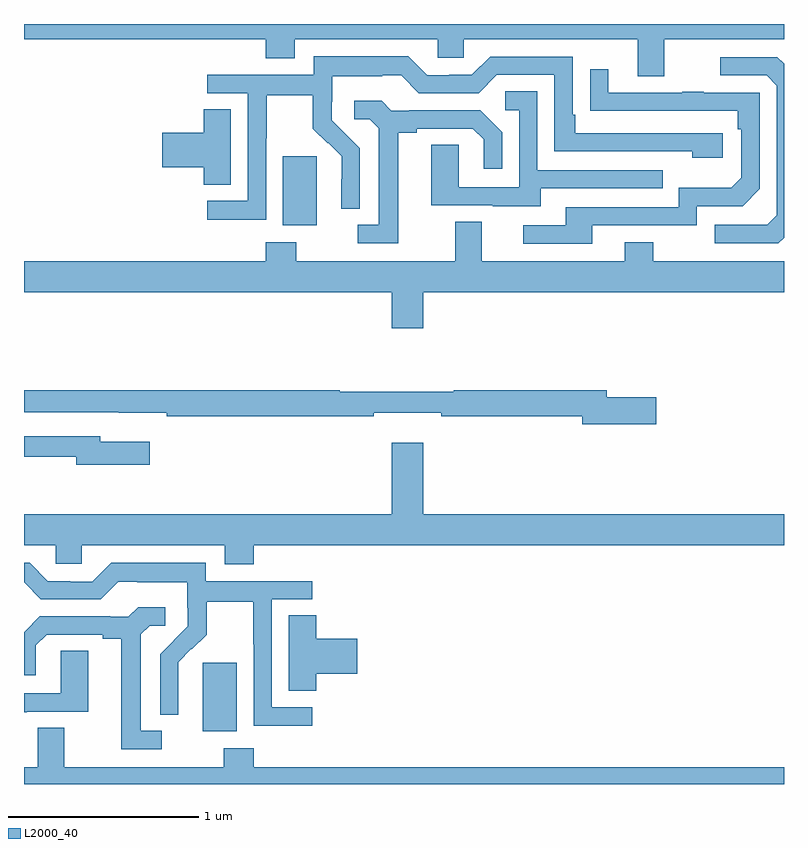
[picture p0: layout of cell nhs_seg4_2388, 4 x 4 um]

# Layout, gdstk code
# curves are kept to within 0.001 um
import gdstk
lib = gdstk.Library(unit=1e-6, precision=1e-09)
def R(c, l, rs):  # rectangles x0, y0, x1, y1
    for r in rs: c.add(gdstk.rectangle(r[:2], r[2:], *l))
def P(c, l, *ps):  # polygons
    for p in ps: c.add(gdstk.Polygon(p, *l))
L2000_40 = (2000, 40)

nhs_seg4_2388 = lib.new_cell('nhs_seg4_2388')
R(nhs_seg4_2388, L2000_40, [(235.94,793.178,236.119,793.539), (236.363,795.842,236.542,796.203)])
P(nhs_seg4_2388, L2000_40, [(238.369,796.82),(239,796.82),(239,796.9),(235,796.9),(235,796.82),(236.273,796.82),(236.273,796.721),(236.425,796.721),(236.425,796.82),(237.177,796.82),(237.177,796.722),(237.315,796.722),(237.315,796.82),(238.229,796.82),(238.229,796.626),(238.369,796.626)],
  [(236.274,796.3),(236.277,796.3),(236.277,796.524),(236.521,796.524),(236.521,796.349),(236.598,796.272),(236.601,796.275),(236.672,796.205),(236.672,796.082),(236.67,796.082),(236.67,795.928),(236.766,795.928),(236.766,796.246),(236.62,796.394),(236.62,796.491),(236.622,796.491),(236.622,796.625),(236.885,796.625),(236.885,796.629),(236.985,796.629),(237.078,796.536),(237.393,796.536),(237.489,796.632),(237.792,796.632),(237.792,796.23),(238.517,796.23),(238.517,796.196),(238.678,796.196),(238.678,796.326),(237.901,796.326),(237.901,796.423),(237.888,796.423),(237.888,796.728),(237.453,796.728),(237.357,796.632),(237.239,796.632),(237.239,796.629),(237.123,796.629),(237.023,796.729),(236.526,796.729),(236.526,796.632),(235.965,796.632),(235.965,796.536),(236.178,796.536),(236.178,795.969),(235.965,795.969),(235.965,795.871),(236.274,795.871)],
  [(239,795.776),(239,796.69),(238.965,796.725),(238.665,796.725),(238.665,796.629),(238.908,796.629),(238.962,796.575),(238.962,795.894),(238.911,795.843),(238.635,795.843),(238.635,795.747),(238.971,795.747)],
  [(237.991,795.84),(238.542,795.84),(238.542,795.942),(238.782,795.942),(238.872,796.032),(238.872,796.539),(238.577,796.539),(238.577,796.544),(238.465,796.544),(238.465,796.539),(238.075,796.539),(238.075,796.663),(237.979,796.663),(237.979,796.444),(238.756,796.443),(238.756,796.346),(238.776,796.346),(238.776,796.092),(238.723,796.039),(238.446,796.039),(238.446,795.936),(237.851,795.936),(237.851,795.84),(237.627,795.84),(237.627,795.744),(237.991,795.744)],
  [(237.721,796.035),(238.361,796.035),(238.361,796.131),(237.702,796.131),(237.702,796.547),(237.534,796.547),(237.534,796.446),(237.606,796.446),(237.606,796.041),(237.288,796.041),(237.288,796.265),(237.143,796.265),(237.143,795.945),(237.467,795.945),(237.467,795.941),(237.721,795.941)],
  [(236.971,796.328),(237.067,796.328),(237.067,796.35),(237.362,796.35),(237.419,796.293),(237.419,796.137),(237.516,796.137),(237.516,796.33),(237.4,796.446),(237.028,796.446),(237.028,796.443),(236.934,796.443),(236.882,796.495),(236.739,796.495),(236.739,796.398),(236.82,796.398),(236.867,796.351),(236.867,795.843),(236.757,795.843),(236.757,795.747),(236.971,795.747)],
  [(236.089,796.451),(235.946,796.451),(235.946,796.328),(235.728,796.328),(235.728,796.145),(235.946,796.145),(235.946,796.054),(236.089,796.054)],
  [(237.1,795.488),(239,795.488),(239,795.652),(238.311,795.652),(238.311,795.751),(238.163,795.751),(238.163,795.652),(237.409,795.652),(237.409,795.86),(237.269,795.86),(237.269,795.652),(236.433,795.652),(236.433,795.751),(236.273,795.751),(236.273,795.652),(235,795.652),(235,795.488),(236.936,795.488),(236.936,795.3),(237.1,795.3)],
  [(238.327,794.936),(238.066,794.936),(238.066,794.972),(237.262,794.972),(237.262,794.965),(236.662,794.965),(236.662,794.972),(235,794.972),(235,794.856),(235.498,794.856),(235.498,794.855),(235.75,794.855),(235.75,794.836),(236.84,794.836),(236.84,794.855),(237.196,794.855),(237.196,794.836),(237.938,794.836),(237.938,794.794),(238.327,794.794)],
  [(235.663,794.701),(235.402,794.701),(235.402,794.73),(235,794.73),(235,794.622),(235.274,794.622),(235.274,794.579),(235.663,794.579)],
  [(236.21,794.156),(239,794.156),(239,794.32),(237.1,794.32),(237.1,794.695),(236.936,794.695),(236.936,794.32),(235,794.32),(235,794.156),(235.167,794.156),(235.167,794.058),(235.305,794.058),(235.305,794.156),(236.057,794.156),(236.057,794.057),(236.21,794.057)],
  [(236.518,793.305),(236.304,793.305),(236.304,793.872),(236.518,793.872),(236.518,793.968),(235.956,793.968),(235.956,794.065),(235.459,794.065),(235.359,793.965),(235.244,793.965),(235.244,793.968),(235.125,793.968),(235.029,794.064),(235,794.064),(235,793.961),(235.089,793.872),(235.404,793.872),(235.497,793.965),(235.597,793.965),(235.597,793.961),(235.86,793.961),(235.86,793.827),(235.862,793.827),(235.862,793.73),(235.716,793.582),(235.716,793.264),(235.812,793.264),(235.811,793.541),(235.881,793.611),(235.884,793.608),(235.961,793.685),(235.961,793.86),(236.206,793.86),(236.206,793.636),(236.208,793.636),(236.208,793.207),(236.518,793.207)],
  [(235.726,793.179),(235.615,793.179),(235.615,793.687),(235.662,793.734),(235.744,793.734),(235.744,793.831),(235.6,793.831),(235.548,793.779),(235.454,793.779),(235.454,793.782),(235.082,793.782),(235,793.7),(235,793.473),(235.063,793.473),(235.063,793.629),(235.12,793.686),(235.415,793.686),(235.415,793.664),(235.511,793.664),(235.511,793.083),(235.726,793.083)],
  [(236.537,793.481),(236.755,793.481),(236.755,793.664),(236.537,793.664),(236.537,793.787),(236.393,793.787),(236.393,793.39),(236.537,793.39)],
  [(235.015,793.281),(235.339,793.281),(235.339,793.601),(235.194,793.601),(235.194,793.377),(235,793.377),(235,793.277),(235.015,793.277)],
  [(239,792.988),(236.21,792.988),(236.21,793.087),(236.05,793.087),(236.05,792.988),(235.213,792.988),(235.213,793.196),(235.073,793.196),(235.073,792.988),(235,792.988),(235,792.9),(239,792.9)])

lib.write_gds('nhs_seg4_2388.gds')
